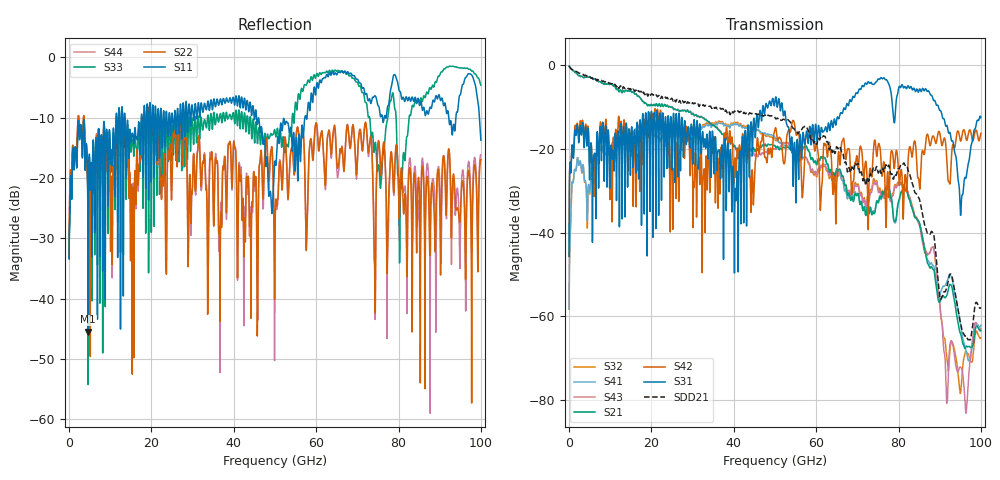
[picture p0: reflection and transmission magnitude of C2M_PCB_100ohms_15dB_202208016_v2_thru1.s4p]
! Info: Touchstone file created by Circ.  Input file=Intel_C2M_200G_4p0in_202208016_staggered.circ
# Hz S RI R 50
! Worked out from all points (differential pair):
!   10000 points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, 10 MHz to 100 GHz, reference 50 ohm
!   strongest paths, dB at 10 MHz, 25.01 GHz, 50.01 GHz, 75.01 GHz, 100 GHz:
!     S31: -45.7, -23.6, -8.5, -3.3, -12.5
!     S42: -45.7, -21.1, -15.2, -19.4, -16.3
!     S21: -0.2, -10.0, -19.2, -32.9, -63.4
!     S43: -0.2, -9.9, -20.0, -30.0, -63.0
!     S41: -58.3, -16.9, -17.3, -32.8, -62.2
!     S32: -58.3, -16.7, -17.8, -29.5, -65.2
!   taken as a pair (ports 1,3 in; 2,4 out), SDD21 dB: -0.2, -7.9, -12.5, -25.6, -57.9
!   lowest |S11| = -45.5 dB at 4.64 GHz (marker M1), VSWR 1.01, Z = 50.2 - j0.498 ohm
!   |S11| at or under -10 dB: start of sweep to 11.4 GHz; 13.58 GHz to 17.52 GHz (3.942 GHz wide, 25.3 % of centre); 45.52 GHz to 57.24 GHz (11.72 GHz wide, 22.8 % of centre)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
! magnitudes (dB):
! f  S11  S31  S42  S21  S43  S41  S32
! 10 MHz  -33.3  -45.7  -45.7  -0.2  -0.2  -58.3  -58.3
! 1.64 GHz  -15.7  -16.5  -14.9  -1.7  -1.7  -25.2  -25.2
! 4.64 GHz  -45.5  -15.2  -14.9  -2.8  -2.8  -29.2  -29.5
! 44.11 GHz  -8.1  -13.9  -32.2  -20.0  -21.4  -15.1  -14.9
! 80.93 GHz  -6.9  -4.7  -28.6  -29.9  -28.9  -30.2  -28.6
! 91.7 GHz  -9.3  -14.3  -22.2  -55.1  -80.8  -51.8  -69.6
! 100 GHz  -13.7  -12.5  -16.3  -63.4  -63.0  -62.2  -65.2
